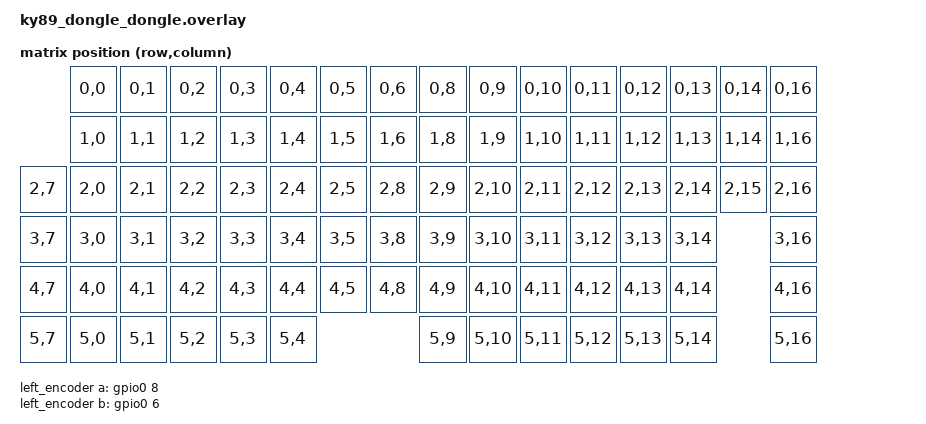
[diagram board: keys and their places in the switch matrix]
/*
 * Copyright (c) 2023 The ZMK Contributors
 *
 * SPDX-License-Identifier: MIT
 */

#include <dt-bindings/zmk/matrix_transform.h>

&pinctrl {
    // Other pinctrl definitions for other hardware
    i2c0_default: i2c0_default {
        group1 {
            psels = <NRF_PSEL(TWIM_SDA, 0, 17)>,
                    <NRF_PSEL(TWIM_SCL, 0, 20)>;
        };
    };

    i2c0_sleep: i2c0_sleep {
        group1 {
            psels = <NRF_PSEL(TWIM_SDA, 0, 17)>,
                    <NRF_PSEL(TWIM_SCL, 0, 20)>;
            low-power-enable;
        };
    };
};

&i2c0 {
	status = "okay";
	//compatible = "nordic,nrf-twi";
	pinctrl-0 = <&i2c0_default>;
	pinctrl-1 = <&i2c0_sleep>;
	pinctrl-names = "default", "sleep";
    
	oled: ssd1306@3c {
        // 分辨率修改
        width = <128>;
		height = <64>;

        // 0.91或0.96，使用以下
        //compatible = "solomon,ssd1306fb";   //0.91   0.96
        //segment-offset = <0>;   //0.91   0.96
        //multiplex-ratio = <31>; //128*32
        //com-sequential; //1.30注销本行
        //label = "LEFT_DISPLAY";

        // 1.30，使用以下
        compatible = "sinowealth,sh1106";   //1.30
        segment-offset = <2>;   //1.30
		multiplex-ratio = <63>; //128*64
        label = "Dongle_DISPLAY";

		reg = <0x3c>;
		page-offset = <0>;
		display-offset = <0>;
		segment-remap;
		com-invdir;
        inversion-on;   // 翻转颜色
		prechargep = <0x22>;
	};
};

/ {

    chosen {
        zmk,kscan = &mock_kscan;
        zmk,matrix-transform = &default_transform;
        zephyr,display = &oled;
    };

    default_transform: keymap_transform_0 {
        compatible = "zmk,matrix-transform";
        columns = <17>;
        rows = <6>;

        map = <
        RC(0,0) RC(0,1) RC(0,2) RC(0,3) RC(0,4) RC(0,5) RC(0,6)      RC(0,8) RC(0,9) RC(0,10) RC(0,11) RC(0,12) RC(0,13) RC(0,14)          RC(0,16) 
        RC(1,0) RC(1,1) RC(1,2) RC(1,3) RC(1,4) RC(1,5) RC(1,6)      RC(1,8) RC(1,9) RC(1,10) RC(1,11) RC(1,12) RC(1,13) RC(1,14)          RC(1,16) 
RC(2,7) RC(2,0) RC(2,1) RC(2,2) RC(2,3) RC(2,4) RC(2,5)              RC(2,8) RC(2,9) RC(2,10) RC(2,11) RC(2,12) RC(2,13) RC(2,14) RC(2,15) RC(2,16) 
RC(3,7) RC(3,0) RC(3,1) RC(3,2) RC(3,3) RC(3,4) RC(3,5)              RC(3,8) RC(3,9) RC(3,10) RC(3,11) RC(3,12) RC(3,13) RC(3,14)          RC(3,16) 
RC(4,7) RC(4,0) RC(4,1) RC(4,2) RC(4,3) RC(4,4) RC(4,5)              RC(4,8) RC(4,9) RC(4,10) RC(4,11) RC(4,12) RC(4,13) RC(4,14)          RC(4,16) 
RC(5,7) RC(5,0) RC(5,1) RC(5,2) RC(5,3) RC(5,4)                              RC(5,9) RC(5,10) RC(5,11) RC(5,12) RC(5,13) RC(5,14)          RC(5,16) 

        >;
    };

    mock_kscan: kscan_0 {
        compatible = "zmk,kscan-mock";
        columns = <0>;
        rows = <0>;
        events = <0>;
    };

    left_encoder: left_encoder {
        compatible = "alps,ec11";
        steps = <80>;
        a-gpios = <&gpio0  8 (GPIO_ACTIVE_HIGH | GPIO_PULL_UP)>;
        b-gpios = <&gpio0  6 (GPIO_ACTIVE_HIGH | GPIO_PULL_UP)>;
        status = "okay";
    };

    sensors: sensors {
        compatible = "zmk,keymap-sensors";
        //sensors = <&left_encoder1 &right_encoder1>;
        sensors = <&left_encoder>;
        triggers-per-rotation = <20>;
    };
};


